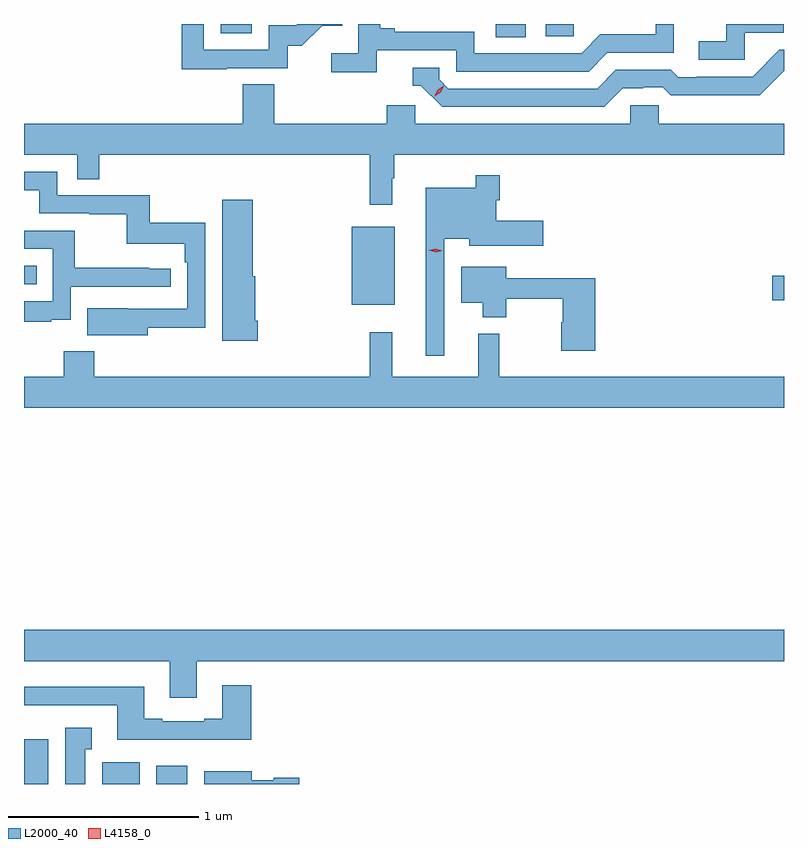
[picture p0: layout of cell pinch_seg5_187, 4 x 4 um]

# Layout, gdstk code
import gdstk
lib = gdstk.Library(unit=1e-6, precision=1e-09)
def R(c, l, rs):  # rectangles x0, y0, x1, y1
    for r in rs: c.add(gdstk.rectangle(r[:2], r[2:], *l))
def P(c, l, *ps):  # polygons
    for p in ps: c.add(gdstk.Polygon(p, *l))
L2000_40 = (2000, 40)
L4158_0 = (4158, 0)

pinch_seg5_187 = lib.new_cell('pinch_seg5_187')
R(pinch_seg5_187, L2000_40, [(1127.543,873.429,1127.671,873.664), (1127.954,873.429,1128.151,873.544), (1128.239,873.429,1128.403,873.526), (1129.268,875.951,1129.495,876.361), (1131.48,875.974,1131.543,876.103), (1127.543,876.06,1127.609,876.156), (1130.025,877.36,1130.184,877.429), (1130.289,877.365,1130.436,877.429), (1128.578,877.38,1128.742,877.429)])
P(pinch_seg5_187, L2000_40, [(1131.336,877.383),(1131.541,877.383),(1131.541,877.429),(1131.24,877.429),(1131.24,877.338),(1131.093,877.338),(1131.093,877.242),(1131.336,877.242)],
  [(1129.4,877.29),(1129.818,877.29),(1129.818,877.179),(1130.515,877.179),(1130.614,877.278),(1130.964,877.278),(1130.964,877.429),(1130.868,877.429),(1130.868,877.374),(1130.577,877.374),(1130.478,877.275),(1129.914,877.275),(1129.914,877.387),(1129.495,877.387),(1129.495,877.406),(1129.418,877.406),(1129.418,877.429),(1129.302,877.429),(1129.302,877.276),(1129.161,877.276),(1129.161,877.174),(1129.4,877.174)],
  [(1128.611,877.197),(1128.93,877.197),(1128.93,877.314),(1129.006,877.314),(1129.113,877.421),(1129.217,877.421),(1129.217,877.429),(1128.982,877.429),(1128.975,877.422),(1128.831,877.422),(1128.831,877.293),(1128.489,877.293),(1128.489,877.429),(1128.373,877.429),(1128.373,877.192),(1128.611,877.192)],
  [(1130.695,877.092),(1130.802,877.092),(1130.802,877.095),(1130.905,877.095),(1130.947,877.053),(1131.18,877.053),(1131.18,877.055),(1131.416,877.055),(1131.543,877.182),(1131.543,877.293),(1131.519,877.293),(1131.378,877.152),(1131.085,877.152),(1131.085,877.149),(1130.986,877.149),(1130.947,877.188),(1130.658,877.188),(1130.559,877.089),(1129.776,877.089),(1129.728,877.137),(1129.728,877.2),(1129.589,877.2),(1129.589,877.104),(1129.632,877.104),(1129.743,876.993),(1130.596,876.993)],
  [(1129.48,876.617),(1129.492,876.617),(1129.492,876.74),(1131.543,876.74),(1131.543,876.904),(1130.883,876.904),(1130.883,877.002),(1130.733,877.002),(1130.733,876.904),(1129.602,876.904),(1129.602,877.002),(1129.451,877.002),(1129.451,876.904),(1128.86,876.904),(1128.86,877.112),(1128.695,877.112),(1128.695,876.904),(1127.543,876.904),(1127.543,876.74),(1127.823,876.74),(1127.823,876.613),(1127.939,876.613),(1127.939,876.74),(1129.363,876.74),(1129.363,876.477),(1129.48,876.477)],
  [(1128.193,875.83),(1128.498,875.83),(1128.498,876.382),(1128.205,876.382),(1128.205,876.528),(1127.718,876.528),(1127.718,876.651),(1127.543,876.651),(1127.543,876.555),(1127.622,876.555),(1127.622,876.432),(1127.887,876.432),(1127.887,876.427),(1128.084,876.427),(1128.084,876.272),(1128.389,876.272),(1128.389,876.176),(1128.402,876.176),(1128.402,875.931),(1128.089,875.931),(1128.089,875.932),(1127.875,875.932),(1127.875,875.792),(1128.193,875.792)],
  [(1129.755,876.299),(1129.886,876.299),(1129.886,876.263),(1130.275,876.263),(1130.275,876.393),(1130.029,876.393),(1130.029,876.501),(1130.048,876.501),(1130.048,876.634),(1129.92,876.634),(1129.92,876.568),(1129.658,876.568),(1129.658,875.682),(1129.755,875.682)],
  [(1128.773,875.866),(1128.76,875.866),(1128.76,876.102),(1128.748,876.102),(1128.748,876.505),(1128.587,876.505),(1128.587,875.762),(1128.773,875.762)],
  [(1127.687,875.873),(1127.79,875.873),(1127.79,876.045),(1128.316,876.045),(1128.316,876.141),(1128.203,876.141),(1128.203,876.146),(1127.81,876.146),(1127.81,876.342),(1127.543,876.342),(1127.543,876.246),(1127.694,876.246),(1127.694,875.97),(1127.543,875.97),(1127.543,875.862),(1127.687,875.862)],
  [(1130.549,876.091),(1130.08,876.091),(1130.08,876.151),(1129.844,876.151),(1129.844,875.963),(1129.958,875.963),(1129.958,875.885),(1130.08,875.885),(1130.08,875.982),(1130.378,875.982),(1130.378,875.859),(1130.371,875.859),(1130.371,875.709),(1130.549,875.709)],
  [(1131.543,875.572),(1130.044,875.572),(1130.044,875.8),(1129.934,875.8),(1129.934,875.572),(1129.481,875.572),(1129.481,875.806),(1129.363,875.806),(1129.363,875.572),(1127.912,875.572),(1127.912,875.707),(1127.752,875.707),(1127.752,875.572),(1127.543,875.572),(1127.543,875.408),(1131.543,875.408)],
  [(1128.451,874.076),(1131.543,874.076),(1131.543,874.24),(1127.543,874.24),(1127.543,874.076),(1128.311,874.076),(1128.311,873.882),(1128.451,873.882)],
  [(1128.74,873.949),(1128.587,873.949),(1128.587,873.772),(1128.491,873.772),(1128.491,873.759),(1128.271,873.759),(1128.271,873.772),(1128.175,873.772),(1128.175,873.94),(1127.543,873.94),(1127.543,873.843),(1128.035,873.843),(1128.035,873.662),(1128.74,873.662)],
  [(1127.866,873.611),(1127.899,873.611),(1127.899,873.724),(1127.759,873.724),(1127.759,873.429),(1127.866,873.429)],
  [(1128.991,873.461),(1128.858,873.461),(1128.858,873.448),(1128.742,873.448),(1128.742,873.496),(1128.491,873.496),(1128.491,873.429),(1128.991,873.429)])
P(pinch_seg5_187, L4158_0, [(1129.705,877.05),(1129.705,877.05),(1129.721,877.083),(1129.752,877.103),(1129.752,877.103),(1129.752,877.103),(1129.736,877.07),(1129.706,877.05)],
  [(1129.709,876.227),(1129.674,876.238),(1129.674,876.238),(1129.674,876.239),(1129.71,876.247),(1129.744,876.236),(1129.745,876.235),(1129.744,876.235)])

lib.write_gds('pinch_seg5_187.gds')
